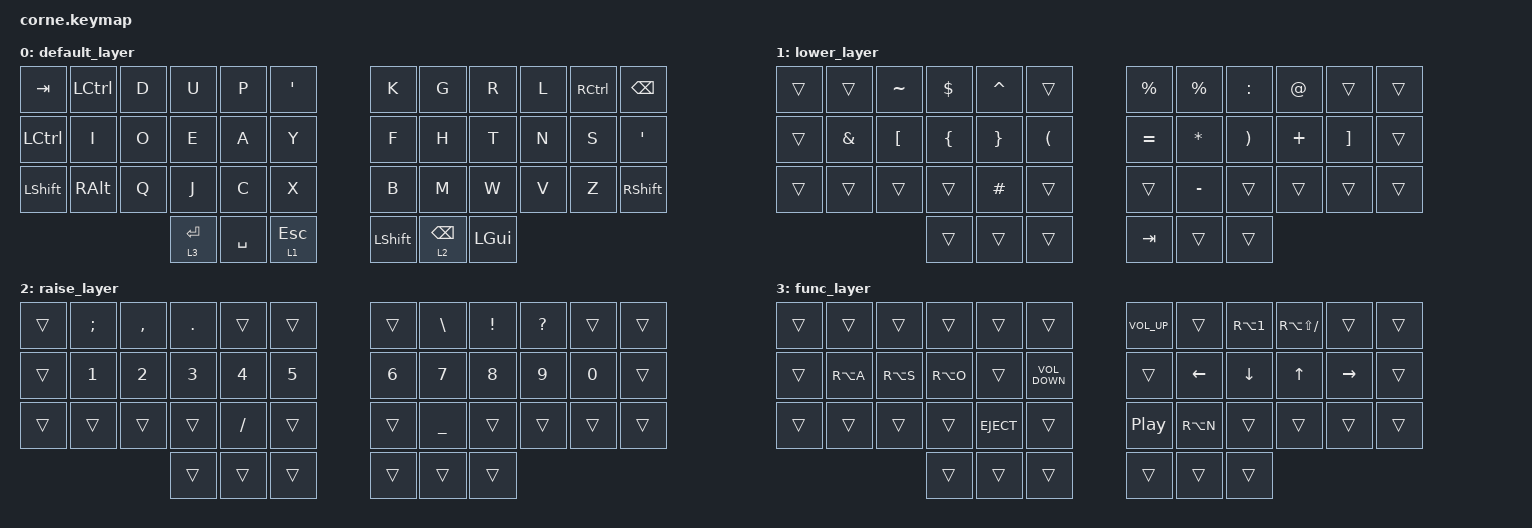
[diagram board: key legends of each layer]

/*
 * Copyright (c) 2020 The ZMK Contributors
 *
 * SPDX-License-Identifier: MIT
 */

#include <behaviors.dtsi>
#include <dt-bindings/zmk/keys.h>
#include <dt-bindings/zmk/bt.h>

&mt {
 retro-tap;
};

/ {
        keymap {
                compatible = "zmk,keymap";

                default_layer {
// -----------------------------------------------------------------------------------------
// |  TAB |  Q  |  W  |  E  |  R  |  T  |   |  Y  |  U   |  I  |  O  |  P  | BKSP |
// | CTRL |  A  |  S  |  D  |  F  |  G  |   |  H  |  J   |  K  |  L  |  ;  |  '   |
// | SHFT |  Z  |  X  |  C  |  V  |  B  |   |  N  |  M   |  ,  |  .  |  /  | SHFT |
//                    | GUI | LWR | SPC |   | ENT | RSE  | ALT |
                        bindings = <
   &kp TAB   &kp LCTRL &kp D &kp U &kp P &kp SQT   &kp K &kp G  &kp R     &kp L   &kp RCTRL    &kp BSPC
   &kp LCTRL &kp I &kp O &kp E &kp A &kp Y   &kp F &kp H  &kp T     &kp N   &kp S &kp SQT
   &kp LSHFT &kp RALT &kp Q &kp J &kp C &kp X   &kp B &kp M  &kp W &kp V &kp Z &kp RSHFT
                  &lt 3 ENTER &kp SPACE &lt 1 ESC   &kp LSHFT &lt 2 BSPC &kp LGUI
                        >;
                };
                lower_layer {
// -----------------------------------------------------------------------------------------
// |  ESC |  1  |  2  |  3  |  4  |  5  |   |  6  |  7  |  8  |  9  |  0  | BKSP |
// | BTCLR| BT1 | BT2 | BT3 | BT4 | BT5 |   | LFT | DWN |  UP | RGT |     |      |
// | SHFT |     |     |     |     |     |   |     |     |     |     |     |      |
//                    | GUI |     | SPC |   | ENT |     | ALT |
                        bindings = <
   &trans    &trans    &kp TILDE   &kp DOLLAR  &kp CARET  &trans    &kp PRCNT   &kp PRCNT   &kp COLON &kp AT &trans &trans
   &trans &kp AMPS &kp LBKT &kp LBRC &kp RBRC &kp LPAR      &kp EQUAL &kp STAR &kp RPAR &kp PLUS &kp RBKT &trans
   &trans  &trans       &trans       &trans       &kp HASH       &trans            &trans   &kp MINUS   &trans &trans    &trans &trans
                                        &trans     &trans       &trans         &kp TAB &trans &trans
                        >;
                };

                raise_layer {
// -----------------------------------------------------------------------------------------
// |  ESC |  !  |  @  |  #  |  $  |  %  |   |  ^  |  &  |  *  |  (  |  )  | BKSP |
// | CTRL |     |     |     |     |     |   |  -  |  =  |  {  |  }  | "|" |  `   |
// | SHFT |     |     |     |     |     |   |  _  |  +  |  [  |  ]  |  \  |  ~   | // TODO: Fix this row when &mkp is committed
//                    | GUI |     | SPC |   | ENT |     | ALT |
                        bindings = <
   &trans  &kp SEMICOLON  &kp COMMA  &kp DOT  &trans  &trans   &trans &kp BSLH  &kp EXCL &kp QMARK &trans &trans
   &trans &kp N1    &kp N2  &kp N3    &kp N4    &kp N5      &kp N6 &kp N7 &kp N8  &kp N9 &kp N0 &trans
   &trans &trans    &trans  &trans    &kp SLASH    &trans      &trans    &kp UNDER    &trans          &trans   &trans &trans
                                   &trans &trans &trans   &trans &trans &trans
                        >;
                };
                func_layer {
// -----------------------------------------------------------------------------------------
// |  ESC |  !  |  @  |  #  |  $  |  %  |   |  ^  |  &  |  *  |  (  |  )  | BKSP |
// | CTRL |     |     |     |     |     |   |  -  |  =  |  {  |  }  | "|" |  `   |
// | SHFT |     |     |     |     |     |   |  _  |  +  |  [  |  ]  |  \  |  ~   | // TODO: Fix this row when &mkp is committed
//                    | GUI |     | SPC |   | ENT |     | ALT |
                        bindings = <
   &trans  &trans  &trans  &trans  &trans  &trans   &kp C_VOLUME_UP &trans  &kp RA(1) &kp RA(LS(SLASH)) &trans &trans
   &trans &kp RA(A)    &kp RA(S)  &kp RA(O)    &trans    &kp C_VOLUME_DOWN      &trans &kp LEFT &kp DOWN        &kp UP &kp RIGHT &trans
   &trans &trans    &trans  &trans    &kp C_EJECT    &trans      &kp C_PP    &kp RA(N)    &trans          &trans   &trans &trans
                                   &trans &trans &trans   &trans &trans &trans
                        >;
                };
        };
};

/*

/ {
        keymap {
                compatible = "zmk,keymap";

                default_layer {
// -----------------------------------------------------------------------------------------
// |  TAB |  Q  |  W  |  E  |  R  |  T  |   |  Y  |  U   |  I  |  O  |  P  | BKSP |
// | CTRL |  A  |  S  |  D  |  F  |  G  |   |  H  |  J   |  K  |  L  |  ;  |  '   |
// | SHFT |  Z  |  X  |  C  |  V  |  B  |   |  N  |  M   |  ,  |  .  |  /  | SHFT |
//                    | GUI | LWR | SPC |   | ENT | RSE  | ALT |
                        bindings = <
   &kp TAB   &kp LCTRL &kp D &kp U &kp P &kp SQT   &kp K &kp G  &kp R     &kp L   &kp RCTRL    &kp BSPC
   &kp LCTRL &kp I &kp O &kp E &kp A &kp Y   &kp F &kp H  &kp T     &kp N   &kp S &kp SQT
   &kp LSHFT &kp RALT &kp Q &kp J &kp C &kp X   &kp B &kp M  &kp W &kp V &kp Z &kp RSHFT
                  &lt 3 ENTER &kp SPACE &lt 1 ESC   &kp LSHFT &lt 2 BSPC &kp LGUI
                        >;
                };
                lower_layer {
// -----------------------------------------------------------------------------------------
// |  ESC |  1  |  2  |  3  |  4  |  5  |   |  6  |  7  |  8  |  9  |  0  | BKSP |
// | BTCLR| BT1 | BT2 | BT3 | BT4 | BT5 |   | LFT | DWN |  UP | RGT |     |      |
// | SHFT |     |     |     |     |     |   |     |     |     |     |     |      |
//                    | GUI |     | SPC |   | ENT |     | ALT |
                        bindings = <
   &trans    &trans    &kp TILDE   &kp DOLLAR  &kp CARET  &trans    &kp PRCNT   &kp PRCNT   &kp COLON &kp AT &trans &trans
   &trans &kp AMPS &kp LBKT &kp LBRC &kp RBRC &kp LPAR      &kp EQUAL &kp STAR &kp RPAR &kp PLUS &kp RBKT &trans
   &trans  &trans       &trans       &trans       &kp HASH       &trans            &trans   &kp MINUS   &trans &trans    &trans &trans
                                        &trans     &trans       &trans         &kp TAB &trans &trans
                        >;
                };

                raise_layer {
// -----------------------------------------------------------------------------------------
// |  ESC |  !  |  @  |  #  |  $  |  %  |   |  ^  |  &  |  *  |  (  |  )  | BKSP |
// | CTRL |     |     |     |     |     |   |  -  |  =  |  {  |  }  | "|" |  `   |
// | SHFT |     |     |     |     |     |   |  _  |  +  |  [  |  ]  |  \  |  ~   | // TODO: Fix this row when &mkp is committed
//                    | GUI |     | SPC |   | ENT |     | ALT |
                        bindings = <
   &trans  &kp SEMICOLON  &kp COMMA  &kp DOT  &trans  &trans   &trans &kp BSLH  &kp EXCL &kp QMARK &trans &trans
   &trans &kp N1    &kp N2  &kp N3    &kp N4    &kp N5      &kp N6 &kp N7 &kp N8  &kp N9 &kp N0 &trans
   &trans &trans    &trans  &trans    &kp SLASH    &trans      &trans    &kp UNDER    &trans          &trans   &trans &trans
                                   &trans &trans &trans   &trans &trans &trans
                        >;
                };
                func_layer {
// -----------------------------------------------------------------------------------------
// |  ESC |  !  |  @  |  #  |  $  |  %  |   |  ^  |  &  |  *  |  (  |  )  | BKSP |
// | CTRL |     |     |     |     |     |   |  -  |  =  |  {  |  }  | "|" |  `   |
// | SHFT |     |     |     |     |     |   |  _  |  +  |  [  |  ]  |  \  |  ~   | // TODO: Fix this row when &mkp is committed
//                    | GUI |     | SPC |   | ENT |     | ALT |
                        bindings = <
   &trans  &trans  &trans  &trans  &trans  &trans   &kp C_VOLUME_UP &trans  &kp RA(1) &kp RA(LS(SLASH)) &trans &trans
   &trans &kp RA(A)    &kp RA(S)  &kp RA(O)    &trans    &kp C_VOLUME_DOWN      &trans &kp LEFT &kp DOWN        &kp UP &kp RIGHT &trans
   &trans &trans    &trans  &trans    &kp C_EJECT    &trans      &kp C_PP    &kp RA(N)    &trans          &trans   &trans &trans
                                   &trans &trans &trans   &trans &trans &trans
                        >;
                };
        };
};
 */
